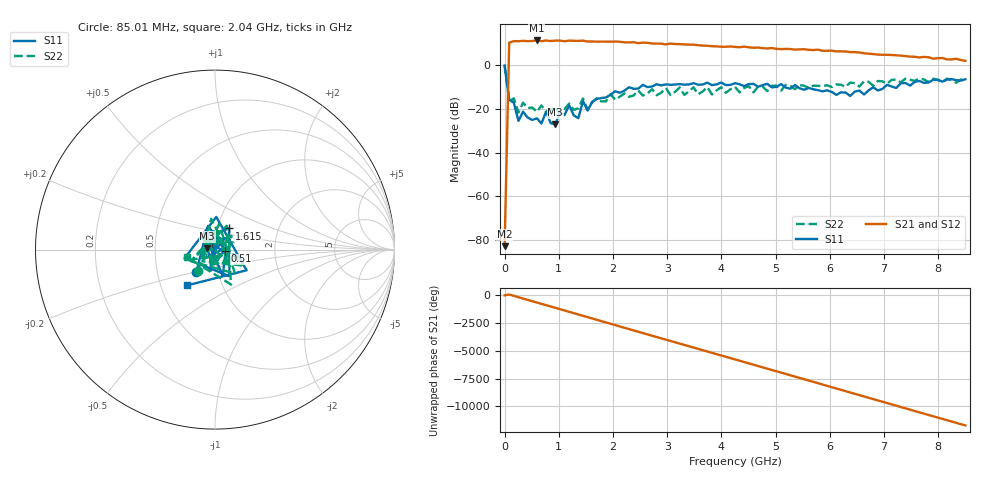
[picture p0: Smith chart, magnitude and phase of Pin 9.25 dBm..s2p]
! RsaToolbox (C) 2013 Rohde & Schwarz America
! Number of points: 101
! Number of ports: 2
! Balanced ports?: 0
# Hz S RI R 50
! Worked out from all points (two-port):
!   101 points, 9 kHz to 8.5 GHz, reference 50 ohm
!   highest |S21| = 11.25 dB at 595 MHz (marker M1); lowest = -82.8 dB at 9 kHz (marker M2)
!   |S21| within 3 dB of the highest: 83.15 MHz to 4.278 GHz (4.195 GHz wide, 192 % of centre); 4.365 GHz to 4.468 GHz (103.1 MHz wide, 2.33 % of centre)
!   lowest |S11| = -27.0 dB at 935 MHz (marker M3), VSWR 1.09, Z = 45.8 + j0.576 ohm
!   |S11| at or under -10 dB: 53.09 MHz to 2.503 GHz (2.45 GHz wide, 192 % of centre); 5.171 GHz to 5.31 GHz (139.6 MHz wide, 2.66 % of centre); 5.406 GHz to 7.011 GHz (1.605 GHz wide, 25.8 % of centre) (the widest 3 of 6)
!   |S22| runs from -22.3 to -0.1 dB; largest |S21 - S12| = 0
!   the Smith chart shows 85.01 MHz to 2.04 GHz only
!   S11 on the Smith chart (normalised r, x): 85.01 MHz: 0.79, -0.20; 510 MHz: 1.12, -0.02; 1.615 GHz: 1.14, +0.27; 2.04 GHz: 0.68, -0.29
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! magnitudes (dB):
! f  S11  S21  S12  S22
! 9 kHz  -0.2  -82.8  -82.8  -0.1
! 85.01 MHz  -15.9  10.3  10.3  -16.5
! 170 MHz  -17.2  10.9  10.9  -15.2
! 255 MHz  -25.5  10.9  10.9  -21.7
! 340 MHz  -21.3  11.1  11.1  -17.2
! 510 MHz  -25.1  11.0  11.0  -19.4
! 595 MHz  -24.3  11.3  11.3  -21.4
! 680 MHz  -26.7  10.9  10.9  -18.5
! 765 MHz  -21.3  11.2  11.2  -21.3
! 935 MHz  -27.0  11.2  11.2  -19.2
! 1.19 GHz  -18.4  11.2  11.2  -17.6
! 1.36 GHz  -24.3  11.0  11.0  -19.8
! 1.445 GHz  -16.5  11.2  11.2  -15.3
! 1.53 GHz  -20.8  10.8  10.8  -20.4
! 1.615 GHz  -17.0  10.8  10.8  -16.8
! 2.04 GHz  -12.0  10.8  10.8  -15.8
! 2.89 GHz  -9.3  9.8  9.8  -12.6
! 4.25 GHz  -8.3  8.3  8.3  -9.9
! 5.695 GHz  -11.1  6.9  6.9  -9.4
! 6.375 GHz  -14.1  5.9  5.9  -8.0
! 7.14 GHz  -9.8  4.6  4.6  -6.7
! 8.5 GHz  -6.5  1.9  1.9  -6.7
